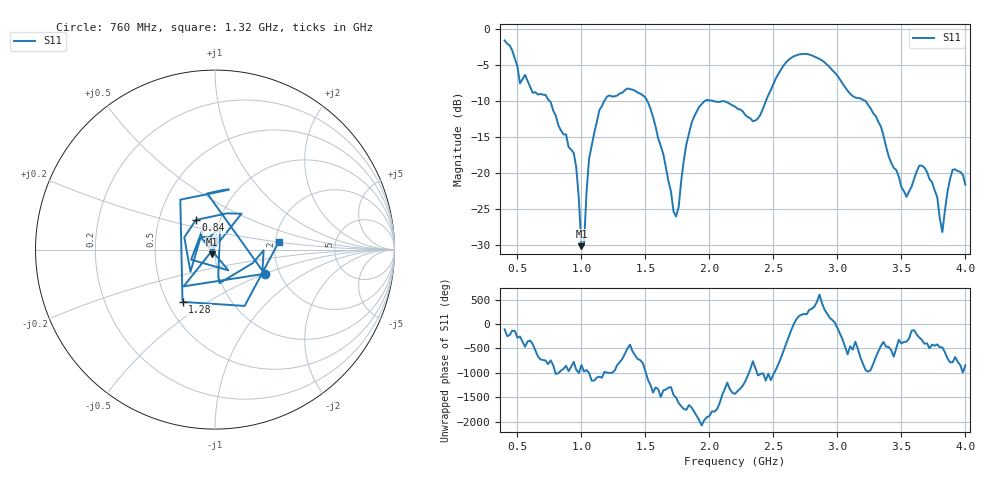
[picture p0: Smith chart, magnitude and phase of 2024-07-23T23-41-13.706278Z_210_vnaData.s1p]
!Created with skrf (http://scikit-rf.org).
# Hz S RI R 50.0
!freq ReS11 ImS11
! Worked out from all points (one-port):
!   181 points, 400 MHz to 4 GHz, reference 50 ohm
!   lowest |S11| = -30.2 dB at 1 GHz (marker M1), VSWR 1.06, Z = 48.3 - j2.54 ohm
!   |S11| at or under -10 dB: 748.6 MHz to 1.18 GHz (431.6 MHz wide, 44.8 % of centre); 1.513 GHz to 1.97 GHz (456.7 MHz wide, 26.2 % of centre); 3.213 GHz to end of sweep (the widest 3 of 4)
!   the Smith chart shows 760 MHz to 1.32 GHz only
!   S11 on the Smith chart (normalised r, x): 760 MHz: 1.68, -0.50; 840 MHz: 0.77, +0.26; 1.28 GHz: 0.60, -0.39; 1.32 GHz: 2.09, +0.21
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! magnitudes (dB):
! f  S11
! 400 MHz  -1.7
! 520 MHz  -7.6
! 760 MHz  -10.2
! 840 MHz  -14.1
! 860 MHz  -14.7
! 960 MHz  -19.3
! 1 GHz  -30.2
! 1.02 GHz  -30.1
! 1.06 GHz  -18.1
! 1.14 GHz  -11.3
! 1.28 GHz  -9.3
! 1.3 GHz  -9.0
! 1.32 GHz  -8.9
! 1.52 GHz  -10.2
! 1.72 GHz  -25.4
! 1.76 GHz  -24.8
! 1.82 GHz  -16.1
! 1.92 GHz  -10.9
! 2.2 GHz  -10.8
! 2.38 GHz  -12.5
! 2.66 GHz  -3.8
! 3.1 GHz  -9.1
! 3.3 GHz  -12.1
! 3.56 GHz  -22.6
! 3.68 GHz  -19.3
! 3.82 GHz  -28.2
! 3.9 GHz  -19.6
! 4 GHz  -21.7
